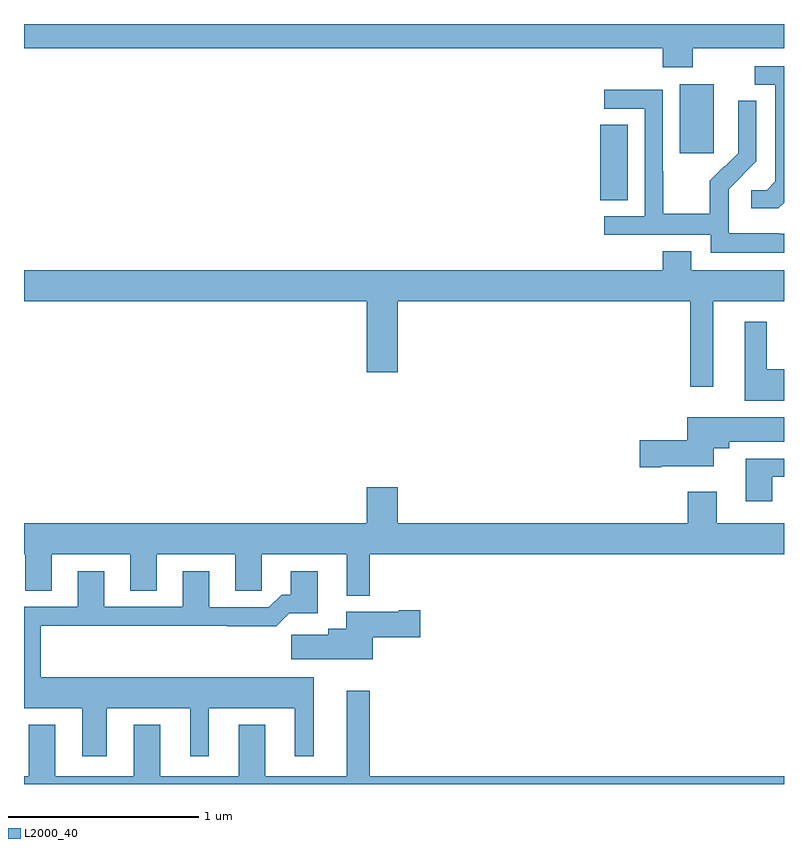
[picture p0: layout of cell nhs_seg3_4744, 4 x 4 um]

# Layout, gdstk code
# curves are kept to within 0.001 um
import gdstk
lib = gdstk.Library(unit=1e-6, precision=1e-09)
def R(c, l, rs):  # rectangles x0, y0, x1, y1
    for r in rs: c.add(gdstk.rectangle(r[:2], r[2:], *l))
def P(c, l, *ps):  # polygons
    for p in ps: c.add(gdstk.Polygon(p, *l))
L2000_40 = (2000, 40)

nhs_seg3_4744 = lib.new_cell('nhs_seg3_4744')
R(nhs_seg3_4744, L2000_40, [(370.034,677.473,370.177,677.87), (370.451,677.721,370.63,678.082)])
P(nhs_seg3_4744, L2000_40, [(370.521,678.272),(371,678.272),(371,678.4),(367,678.4),(367,678.272),(370.361,678.272),(370.361,678.173),(370.521,678.173)],
  [(371,677.459),(371,678.177),(370.845,678.177),(370.845,678.081),(370.955,678.081),(370.955,677.573),(370.908,677.526),(370.827,677.526),(370.827,677.429),(370.97,677.429)],
  [(371,677.295),(370.973,677.295),(370.973,677.299),(370.71,677.299),(370.71,677.433),(370.708,677.433),(370.708,677.53),(370.854,677.678),(370.854,677.996),(370.758,677.996),(370.758,677.842),(370.76,677.842),(370.76,677.72),(370.689,677.649),(370.686,677.652),(370.609,677.575),(370.609,677.401),(370.365,677.401),(370.365,677.624),(370.362,677.624),(370.362,678.054),(370.053,678.054),(370.053,677.955),(370.266,677.955),(370.266,677.388),(370.053,677.388),(370.053,677.292),(370.614,677.292),(370.614,677.195),(371,677.195)],
  [(370.627,676.94),(371,676.94),(371,677.104),(370.513,677.104),(370.513,677.203),(370.361,677.203),(370.361,677.104),(367,677.104),(367,676.94),(368.804,676.94),(368.804,676.566),(368.968,676.566),(368.968,676.94),(370.506,676.94),(370.506,676.491),(370.627,676.491)],
  [(371,676.582),(370.909,676.582),(370.909,676.834),(370.793,676.834),(370.793,676.418),(371,676.418)],
  [(370.354,676.073),(370.63,676.073),(370.63,676.166),(370.711,676.166),(370.711,676.202),(371,676.202),(371,676.33),(370.49,676.33),(370.49,676.208),(370.242,676.208),(370.242,676.066),(370.354,676.066)],
  [(370.939,676.017),(371,676.017),(371,676.113),(370.799,676.113),(370.799,675.888),(370.939,675.888)],
  [(368.821,675.608),(371,675.608),(371,675.772),(370.645,675.772),(370.645,675.937),(370.493,675.937),(370.493,675.772),(368.968,675.772),(368.968,675.961),(368.804,675.961),(368.804,675.772),(367,675.772),(367,675.608),(367.007,675.608),(367.007,675.418),(367.147,675.418),(367.147,675.608),(367.559,675.608),(367.559,675.418),(367.699,675.418),(367.699,675.608),(368.111,675.608),(368.111,675.418),(368.25,675.418),(368.25,675.608),(368.699,675.608),(368.699,675.392),(368.821,675.392)],
  [(367.435,674.798),(367.874,674.798),(367.874,674.547),(367.972,674.547),(367.972,674.798),(368.426,674.798),(368.426,674.547),(368.524,674.547),(368.524,674.962),(367.087,674.962),(367.087,675.232),(368.071,675.232),(368.071,675.23),(368.327,675.23),(368.396,675.299),(368.545,675.299),(368.545,675.52),(368.405,675.52),(368.405,675.397),(368.356,675.397),(368.289,675.33),(367.975,675.33),(367.975,675.52),(367.835,675.52),(367.835,675.333),(367.423,675.333),(367.423,675.52),(367.283,675.52),(367.283,675.333),(367,675.333),(367,674.798),(367.307,674.798),(367.307,674.547),(367.435,674.547)],
  [(368.836,675.173),(369.085,675.173),(369.085,675.315),(368.972,675.315),(368.972,675.307),(368.696,675.307),(368.696,675.217),(368.6,675.217),(368.6,675.185),(368.406,675.185),(368.406,675.056),(368.836,675.056)],
  [(371,674.44),(368.821,674.44),(368.821,674.89),(368.699,674.89),(368.699,674.44),(368.269,674.44),(368.269,674.713),(368.129,674.713),(368.129,674.44),(367.717,674.44),(367.717,674.713),(367.577,674.713),(367.577,674.44),(367.165,674.44),(367.165,674.713),(367.025,674.713),(367.025,674.44),(367,674.44),(367,674.4),(371,674.4)])

lib.write_gds('nhs_seg3_4744.gds')
